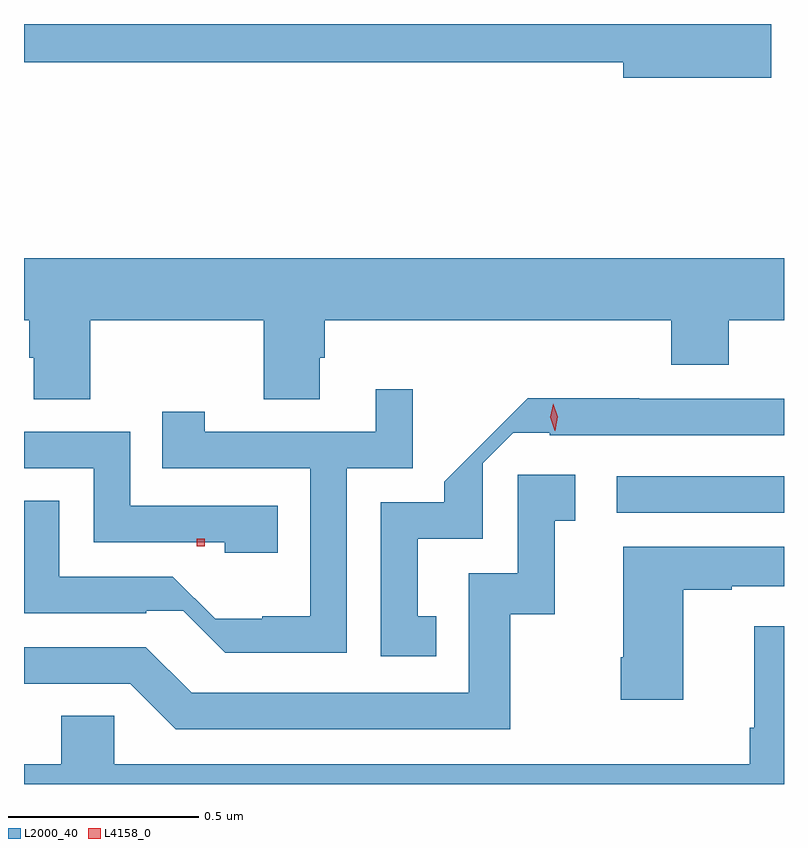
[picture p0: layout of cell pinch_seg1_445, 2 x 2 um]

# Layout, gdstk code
import gdstk
lib = gdstk.Library(unit=1e-6, precision=1e-09)
def R(c, l, rs):  # rectangles x0, y0, x1, y1
    for r in rs: c.add(gdstk.rectangle(r[:2], r[2:], *l))
def P(c, l, *ps):  # polygons
    for p in ps: c.add(gdstk.Polygon(p, *l))
L2000_40 = (2000, 40)
L4158_0 = (4158, 0)

pinch_seg1_445 = lib.new_cell('pinch_seg1_445')
R(pinch_seg1_445, L2000_40, [(911.469,516.594,911.909,516.69)])
P(pinch_seg1_445, L2000_40, [(911.875,517.88),(909.909,517.88),(909.909,517.78),(911.486,517.78),(911.486,517.738),(911.875,517.738)],
  [(909.909,517.1),(909.923,517.1),(909.923,517.002),(909.935,517.002),(909.935,516.892),(910.083,516.892),(910.083,517.1),(910.54,517.1),(910.54,516.892),(910.687,516.892),(910.687,517.002),(910.7,517.002),(910.7,517.1),(911.612,517.1),(911.612,516.983),(911.764,516.983),(911.764,517.1),(911.909,517.1),(911.909,517.264),(909.909,517.264)],
  [(910.758,516.711),(910.932,516.711),(910.932,516.919),(910.835,516.919),(910.835,516.807),(910.384,516.807),(910.384,516.859),(910.273,516.859),(910.273,516.711),(910.662,516.711),(910.662,516.322),(910.536,516.322),(910.536,516.315),(910.412,516.315),(910.301,516.426),(910.002,516.426),(910.002,516.625),(909.909,516.625),(909.909,516.33),(910.231,516.33),(910.231,516.336),(910.328,516.336),(910.439,516.225),(910.758,516.225)],
  [(910.994,516.321),(910.945,516.321),(910.945,516.525),(911.116,516.525),(911.116,516.724),(911.196,516.804),(911.293,516.804),(911.293,516.798),(911.909,516.798),(911.909,516.894),(911.528,516.894),(911.528,516.895),(911.235,516.895),(911.015,516.676),(911.015,516.621),(910.848,516.621),(910.848,516.216),(910.994,516.216)],
  [(910.577,516.612),(910.188,516.612),(910.188,516.807),(909.909,516.807),(909.909,516.711),(910.092,516.711),(910.092,516.516),(910.437,516.516),(910.437,516.488),(910.577,516.488)],
  [(911.188,516.327),(911.306,516.327),(911.306,516.573),(911.359,516.573),(911.359,516.694),(911.208,516.694),(911.208,516.435),(911.079,516.435),(911.079,516.12),(910.35,516.12),(910.23,516.24),(909.909,516.24),(909.909,516.144),(910.188,516.144),(910.308,516.024),(911.188,516.024)],
  [(911.644,516.391),(911.771,516.391),(911.771,516.401),(911.909,516.401),(911.909,516.505),(911.486,516.505),(911.486,516.214),(911.479,516.214),(911.479,516.102),(911.644,516.102)],
  [(911.909,516.295),(911.831,516.295),(911.831,516.028),(911.819,516.028),(911.819,515.932),(910.146,515.932),(910.146,516.059),(910.007,516.059),(910.007,515.932),(909.909,515.932),(909.909,515.88),(911.909,515.88)])
R(pinch_seg1_445, L4158_0, [(910.364,516.506,910.384,516.526)])
P(pinch_seg1_445, L4158_0, [(911.306,516.81),(911.294,516.845),(911.302,516.881),(911.302,516.881),(911.302,516.881),(911.314,516.846),(911.307,516.81),(911.307,516.81)])

lib.write_gds('pinch_seg1_445.gds')
